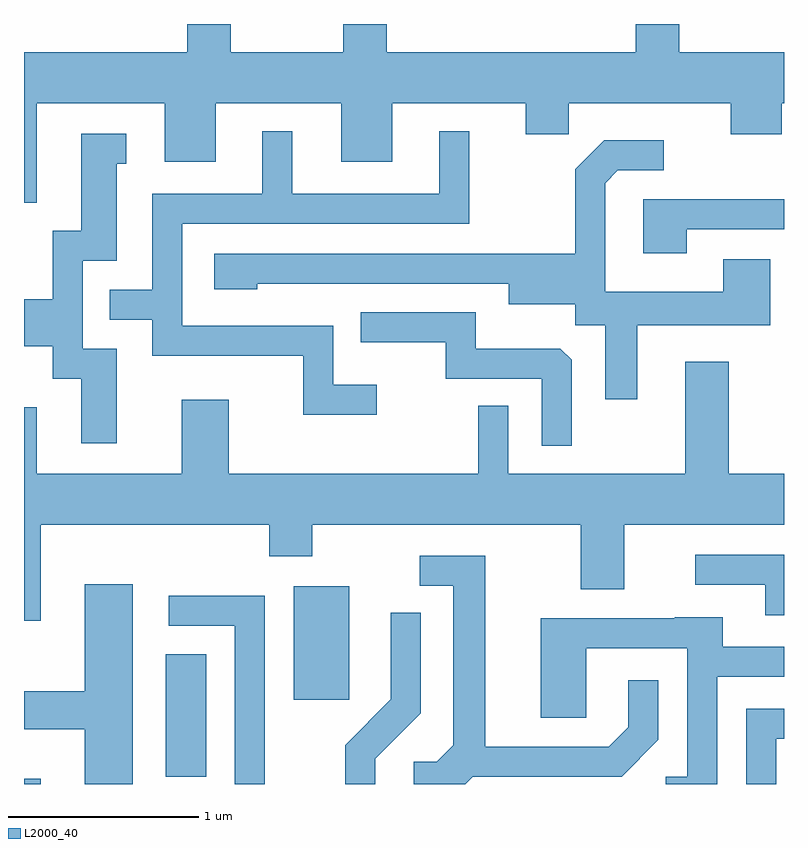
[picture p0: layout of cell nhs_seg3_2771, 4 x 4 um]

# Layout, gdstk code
import gdstk
lib = gdstk.Library(unit=1e-6, precision=1e-09)
def R(c, l, rs):  # rectangles x0, y0, x1, y1
    for r in rs: c.add(gdstk.rectangle(r[:2], r[2:], *l))
def P(c, l, *ps):  # polygons
    for p in ps: c.add(gdstk.Polygon(p, *l))
L2000_40 = (2000, 40)

nhs_seg3_2771 = lib.new_cell('nhs_seg3_2771')
R(nhs_seg3_2771, L2000_40, [(265.611,1217.892,265.699,1217.919), (266.356,1217.931,266.569,1218.574), (267.031,1218.336,267.324,1218.934)])
P(nhs_seg3_2771, L2000_40, [(265.679,1221.476),(266.351,1221.476),(266.351,1221.166),(266.619,1221.166),(266.619,1221.476),(267.281,1221.476),(267.281,1221.166),(267.549,1221.166),(267.549,1221.476),(268.251,1221.476),(268.251,1221.311),(268.479,1221.311),(268.479,1221.476),(269.331,1221.476),(269.331,1221.311),(269.599,1221.311),(269.599,1221.476),(269.611,1221.476),(269.611,1221.744),(269.059,1221.744),(269.059,1221.892),(268.831,1221.892),(268.831,1221.744),(267.519,1221.744),(267.519,1221.892),(267.291,1221.892),(267.291,1221.744),(266.699,1221.744),(266.699,1221.892),(266.471,1221.892),(266.471,1221.744),(265.611,1221.744),(265.611,1220.951),(265.679,1220.951)],
  [(267.468,1219.994),(267.239,1219.994),(267.239,1220.304),(266.444,1220.304),(266.444,1220.841),(267.954,1220.841),(267.954,1221.328),(267.796,1221.328),(267.796,1220.999),(267.024,1220.999),(267.024,1221.328),(266.866,1221.328),(266.866,1220.999),(266.286,1220.999),(266.286,1220.494),(266.063,1220.494),(266.063,1220.336),(266.286,1220.336),(266.286,1220.146),(267.081,1220.146),(267.081,1219.836),(267.468,1219.836)],
  [(266.099,1220.184),(265.919,1220.184),(265.919,1220.646),(266.099,1220.646),(266.099,1221.156),(266.148,1221.156),(266.148,1221.314),(265.911,1221.314),(265.911,1220.804),(265.761,1220.804),(265.761,1220.444),(265.611,1220.444),(265.611,1220.196),(265.761,1220.196),(265.761,1220.026),(265.911,1220.026),(265.911,1219.686),(266.099,1219.686)],
  [(268.839,1220.306),(269.539,1220.306),(269.539,1220.654),(269.291,1220.654),(269.291,1220.484),(268.669,1220.484),(268.669,1221.054),(268.737,1221.121),(268.978,1221.121),(268.978,1221.279),(268.664,1221.279),(268.511,1221.127),(268.511,1220.684),(266.611,1220.684),(266.611,1220.496),(266.839,1220.496),(266.839,1220.526),(268.161,1220.526),(268.161,1220.416),(268.511,1220.416),(268.511,1220.306),(268.671,1220.306),(268.671,1219.918),(268.839,1219.918)],
  [(269.099,1220.811),(269.611,1220.811),(269.611,1220.969),(268.871,1220.969),(268.871,1220.686),(269.099,1220.686)],
  [(268.494,1220.124),(268.434,1220.184),(267.989,1220.184),(267.989,1220.374),(267.383,1220.374),(267.383,1220.216),(267.831,1220.216),(267.831,1220.026),(268.336,1220.026),(268.336,1219.673),(268.494,1219.673)],
  [(265.699,1219.256),(266.901,1219.256),(266.901,1219.091),(267.129,1219.091),(267.129,1219.256),(268.541,1219.256),(268.541,1218.916),(268.769,1218.916),(268.769,1219.256),(269.611,1219.256),(269.611,1219.524),(269.319,1219.524),(269.319,1220.114),(269.091,1220.114),(269.091,1219.524),(268.159,1219.524),(268.159,1219.883),(268.001,1219.883),(268.001,1219.524),(266.689,1219.524),(266.689,1219.914),(266.441,1219.914),(266.441,1219.524),(265.679,1219.524),(265.679,1219.874),(265.611,1219.874),(265.611,1218.751),(265.699,1218.751)],
  [(269.611,1219.099),(269.143,1219.099),(269.143,1218.941),(269.511,1218.941),(269.511,1218.781),(269.611,1218.781)],
  [(267.972,1217.931),(268.757,1217.931),(268.949,1218.124),(268.949,1218.438),(268.791,1218.438),(268.791,1218.192),(268.689,1218.089),(268.039,1218.089),(268.039,1219.094),(267.693,1219.094),(267.693,1218.936),(267.871,1218.936),(267.871,1218.097),(267.784,1218.009),(267.663,1218.009),(267.663,1217.892),(267.933,1217.892)],
  [(266.184,1218.944),(265.931,1218.944),(265.931,1218.379),(265.611,1218.379),(265.611,1218.181),(265.931,1218.181),(265.931,1217.892),(266.184,1217.892)],
  [(266.879,1218.884),(266.373,1218.884),(266.373,1218.726),(266.721,1218.726),(266.721,1217.892),(266.879,1217.892)],
  [(267.459,1218.024),(267.699,1218.264),(267.699,1218.793),(267.541,1218.793),(267.541,1218.337),(267.301,1218.097),(267.301,1217.892),(267.459,1217.892)],
  [(269.259,1218.456),(269.611,1218.456),(269.611,1218.614),(269.289,1218.614),(269.289,1218.769),(269.035,1218.769),(269.035,1218.764),(268.331,1218.764),(268.331,1218.241),(268.569,1218.241),(268.569,1218.606),(269.101,1218.606),(269.101,1217.929),(268.988,1217.929),(268.988,1217.892),(269.259,1217.892)],
  [(269.569,1218.131),(269.611,1218.131),(269.611,1218.289),(269.411,1218.289),(269.411,1217.892),(269.569,1217.892)])

lib.write_gds('nhs_seg3_2771.gds')
